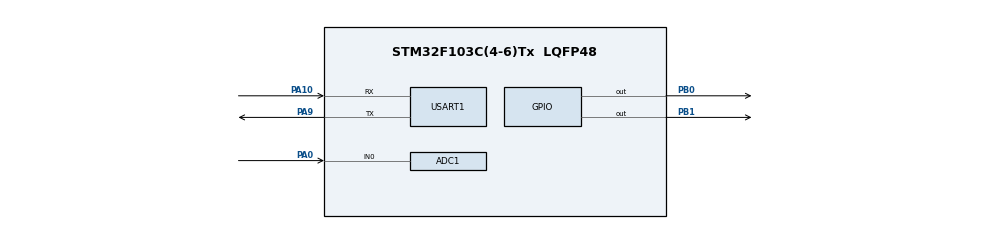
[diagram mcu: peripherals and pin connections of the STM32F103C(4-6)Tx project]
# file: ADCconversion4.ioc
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Mcu.Family=STM32F1
ADC1.Rank-0\#ChannelRegularConversion=1
PD1-OSC_OUT.Mode=HSE-External-Oscillator
PA10.Mode=Asynchronous
PD0-OSC_IN.Signal=RCC_OSC_IN
VP_SYS_VS_ND.Mode=No_Debug
ProjectManager.StackSize=0x400
PA0-WKUP.Signal=ADCx_IN0
PD1-OSC_OUT.Signal=RCC_OSC_OUT
PA9.Mode=Asynchronous
ProjectManager.TargetToolchain=STM32CubeIDE
PA9.Signal=USART1_TX
PD0-OSC_IN.Mode=HSE-External-Oscillator
ADC1.Channel-0\#ChannelRegularConversion=ADC_CHANNEL_0
board=custom
RCC.APB2Freq_Value=8000000
SH.ADCx_IN0.0=ADC1_IN0,IN0
Mcu.Name=STM32F103C(4-6)Tx
ADC1.SamplingTime-0\#ChannelRegularConversion=ADC_SAMPLETIME_1CYCLE_5
Mcu.Package=LQFP48
PB1.Signal=GPIO_Output
ADC1.master=1
USART1.VirtualMode=VM_ASYNC
PA10.Signal=USART1_RX
ProjectManager.HeapSize=0x200
NVIC.PriorityGroup=NVIC_PRIORITYGROUP_4
ADC1.NbrOfConversionFlag=1
RCC.APB1Freq_Value=8000000
PB0.Signal=GPIO_Output

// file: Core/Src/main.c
/* USER CODE BEGIN Header */
/**
  ******************************************************************************
  * @file           : main.c
  * @brief          : Main program body
  ******************************************************************************
  * @attention
  *
  * <h2><center>&copy; Copyright (c) 2021 STMicroelectronics.
  * All rights reserved.</center></h2>
  *
  * This software component is licensed by ST under BSD 3-Clause license,
  * the "License"; You may not use this file except in compliance with the
  * License. You may obtain a copy of the License at:
  *                        opensource.org/licenses/BSD-3-Clause
  *
  ******************************************************************************
  */
/* USER CODE END Header */
#include "main.h"

ADC_HandleTypeDef hadc1;

UART_HandleTypeDef huart1;

void SystemClock_Config(void);
static void MX_GPIO_Init(void);
static void MX_ADC1_Init(void);
static void MX_USART1_UART_Init(void);

int main(void)
{
  /* USER CODE BEGIN 1 */
	uint16_t raw;
	 uint32_t res;
	 char msg[10];

  /* USER CODE END 1 */

  /* MCU Configuration--------------------------------------------------------*/

  /* Reset of all peripherals, Initializes the Flash interface and the Systick. */
  HAL_Init();

  /* Configure the system clock */
  SystemClock_Config();

  /* Initialize all configured peripherals */
  MX_GPIO_Init();
  MX_ADC1_Init();
  MX_USART1_UART_Init();

  /* Infinite loop */
  while (1)
  {

    /* USER CODE BEGIN 3 */
	  //TEST GPIO PIN CONVERSION BEGIN

	    //HAL_GPIO_WritePin(GPIOB, GPIO_PIN_0, GPIO_PIN_SET);
	    //HAL_GPIO_WritePin(GPIOB, GPIO_PIN_1, GPIO_PIN_SET);
	    //HAL_Delay(15);
	    //HAL_GPIO_WritePin(GPIOB, GPIO_PIN_0, GPIO_PIN_RESET);
	    //HAL_GPIO_WritePin(GPIOB, GPIO_PIN_1, GPIO_PIN_RESET);

	    //GET ADC VALUE
	    HAL_ADC_Start(&hadc1);
	    HAL_ADC_PollForConversion(&hadc1,HAL_MAX_DELAY);
	    raw = HAL_ADC_GetValue(&hadc1);

	    //TEST GPIO PIN CONVERSION END

	    //HAL_Delay(15);

	    res = (raw*100)/4095;

	    //condition to turn off relay
	    if(res >= 240) {
	    	HAL_GPIO_WritePin(GPIOB, GPIO_PIN_0, GPIO_PIN_SET);
	    	HAL_GPIO_WritePin(GPIOB, GPIO_PIN_1, GPIO_PIN_SET);
	    }
	    else if(res >= 200) {
	    	    	HAL_GPIO_WritePin(GPIOB, GPIO_PIN_0, GPIO_PIN_SET);
	    	    	HAL_GPIO_WritePin(GPIOB, GPIO_PIN_1, GPIO_PIN_RESET);
	    	    }
	    //condition to continue current state
	    else
	    {
	    	HAL_GPIO_WritePin(GPIOB, GPIO_PIN_0, GPIO_PIN_RESET);
	    	HAL_GPIO_WritePin(GPIOB, GPIO_PIN_1, GPIO_PIN_RESET);
	    }

	    //convert to string and print
	    sprintf(msg,"%u pourcent \r\n",res);
	    HAL_UART_Transmit(&huart1,(uint8_t*)msg,strlen(msg),HAL_MAX_DELAY);

	    HAL_Delay(10);
  }
  /* USER CODE END 3 */
}

void SystemClock_Config(void)
{
  RCC_OscInitTypeDef RCC_OscInitStruct = {0};
  RCC_ClkInitTypeDef RCC_ClkInitStruct = {0};
  RCC_PeriphCLKInitTypeDef PeriphClkInit = {0};

  /** Initializes the RCC Oscillators according to the specified parameters
  * in the RCC_OscInitTypeDef structure.
  */
  RCC_OscInitStruct.OscillatorType = RCC_OSCILLATORTYPE_HSI;
  RCC_OscInitStruct.HSIState = RCC_HSI_ON;
  RCC_OscInitStruct.HSICalibrationValue = RCC_HSICALIBRATION_DEFAULT;
  RCC_OscInitStruct.PLL.PLLState = RCC_PLL_NONE;
  if (HAL_RCC_OscConfig(&RCC_OscInitStruct) != HAL_OK)
  {
    Error_Handler();
  }
  /** Initializes the CPU, AHB and APB buses clocks
  */
  RCC_ClkInitStruct.ClockType = RCC_CLOCKTYPE_HCLK|RCC_CLOCKTYPE_SYSCLK
                              |RCC_CLOCKTYPE_PCLK1|RCC_CLOCKTYPE_PCLK2;
  RCC_ClkInitStruct.SYSCLKSource = RCC_SYSCLKSOURCE_HSI;
  RCC_ClkInitStruct.AHBCLKDivider = RCC_SYSCLK_DIV1;
  RCC_ClkInitStruct.APB1CLKDivider = RCC_HCLK_DIV1;
  RCC_ClkInitStruct.APB2CLKDivider = RCC_HCLK_DIV1;

  if (HAL_RCC_ClockConfig(&RCC_ClkInitStruct, FLASH_LATENCY_0) != HAL_OK)
  {
    Error_Handler();
  }
  PeriphClkInit.PeriphClockSelection = RCC_PERIPHCLK_ADC;
  PeriphClkInit.AdcClockSelection = RCC_ADCPCLK2_DIV2;
  if (HAL_RCCEx_PeriphCLKConfig(&PeriphClkInit) != HAL_OK)
  {
    Error_Handler();
  }
}

static void MX_ADC1_Init(void)
{

  ADC_ChannelConfTypeDef sConfig = {0};

  /** Common config
  */
  hadc1.Instance = ADC1;
  hadc1.Init.ScanConvMode = ADC_SCAN_DISABLE;
  hadc1.Init.ContinuousConvMode = DISABLE;
  hadc1.Init.DiscontinuousConvMode = DISABLE;
  hadc1.Init.ExternalTrigConv = ADC_SOFTWARE_START;
  hadc1.Init.DataAlign = ADC_DATAALIGN_RIGHT;
  hadc1.Init.NbrOfConversion = 1;
  if (HAL_ADC_Init(&hadc1) != HAL_OK)
  {
    Error_Handler();
  }
  /** Configure Regular Channel
  */
  sConfig.Channel = ADC_CHANNEL_0;
  sConfig.Rank = ADC_REGULAR_RANK_1;
  sConfig.SamplingTime = ADC_SAMPLETIME_1CYCLE_5;
  if (HAL_ADC_ConfigChannel(&hadc1, &sConfig) != HAL_OK)
  {
    Error_Handler();
  }

}

static void MX_USART1_UART_Init(void)
{

  huart1.Instance = USART1;
  huart1.Init.BaudRate = 115200;
  huart1.Init.WordLength = UART_WORDLENGTH_8B;
  huart1.Init.StopBits = UART_STOPBITS_1;
  huart1.Init.Parity = UART_PARITY_NONE;
  huart1.Init.Mode = UART_MODE_TX_RX;
  huart1.Init.HwFlowCtl = UART_HWCONTROL_NONE;
  huart1.Init.OverSampling = UART_OVERSAMPLING_16;
  if (HAL_UART_Init(&huart1) != HAL_OK)
  {
    Error_Handler();
  }

}

static void MX_GPIO_Init(void)
{
  GPIO_InitTypeDef GPIO_InitStruct = {0};

  /* GPIO Ports Clock Enable */
  __HAL_RCC_GPIOD_CLK_ENABLE();
  __HAL_RCC_GPIOA_CLK_ENABLE();
  __HAL_RCC_GPIOB_CLK_ENABLE();

  /*Configure GPIO pin Output Level */
  HAL_GPIO_WritePin(GPIOB, GPIO_PIN_0|GPIO_PIN_1, GPIO_PIN_RESET);

  /*Configure GPIO pins : PB0 PB1 */
  GPIO_InitStruct.Pin = GPIO_PIN_0|GPIO_PIN_1;
  GPIO_InitStruct.Mode = GPIO_MODE_OUTPUT_PP;
  GPIO_InitStruct.Pull = GPIO_NOPULL;
  GPIO_InitStruct.Speed = GPIO_SPEED_FREQ_LOW;
  HAL_GPIO_Init(GPIOB, &GPIO_InitStruct);

}

void Error_Handler(void)
{
  __disable_irq();
  while (1)
  {
  }
}

/************************ (C) COPYRIGHT STMicroelectronics *****END OF FILE****/
